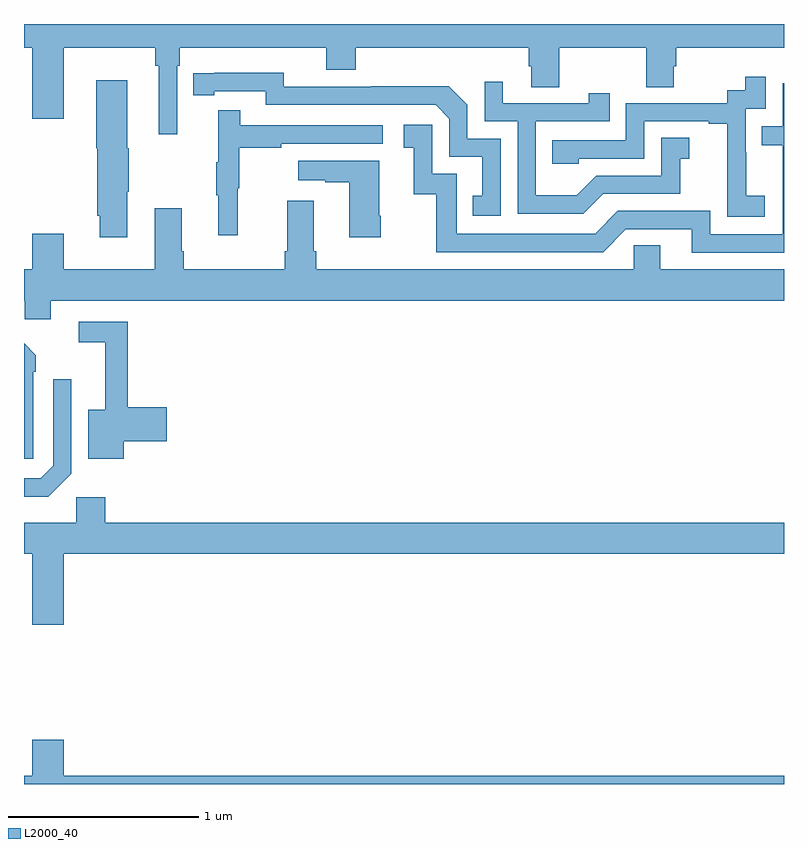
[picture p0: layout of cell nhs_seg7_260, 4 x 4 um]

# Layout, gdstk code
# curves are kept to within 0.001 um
import gdstk
lib = gdstk.Library(unit=1e-6, precision=1e-09)
def P(c, l, *ps):  # polygons
    for p in ps: c.add(gdstk.Polygon(p, *l))
L2000_40 = (2000, 40)

nhs_seg7_260 = lib.new_cell('nhs_seg7_260')
P(nhs_seg7_260, L2000_40, [(129,1073.876),(129.044,1073.876),(129.044,1073.502),(129.208,1073.502),(129.208,1073.876),(129.691,1073.876),(129.691,1073.78),(129.71,1073.78),(129.71,1073.421),(129.807,1073.421),(129.807,1073.78),(129.821,1073.78),(129.821,1073.876),(130.592,1073.876),(130.592,1073.759),(130.745,1073.759),(130.745,1073.876),(131.657,1073.876),(131.657,1073.778),(131.669,1073.778),(131.669,1073.668),(131.817,1073.668),(131.817,1073.876),(132.274,1073.876),(132.274,1073.668),(132.421,1073.668),(132.421,1073.778),(132.434,1073.778),(132.434,1073.876),(133,1073.876),(133,1074),(129,1074)],
  [(131.508,1073.397),(131.334,1073.397),(131.334,1073.574),(131.236,1073.672),(130.828,1073.672),(130.828,1073.67),(130.368,1073.67),(130.368,1073.743),(129.892,1073.742),(129.892,1073.626),(130,1073.626),(130,1073.646),(130.272,1073.646),(130.272,1073.574),(131.166,1073.574),(131.238,1073.502),(131.238,1073.301),(131.411,1073.301),(131.411,1073.097),(131.362,1073.097),(131.362,1072.992),(131.508,1072.992)],
  [(132.898,1073.095),(132.8,1073.095),(132.8,1073.324),(132.798,1073.324),(132.798,1073.553),(132.903,1073.553),(132.903,1073.722),(132.795,1073.722),(132.795,1073.652),(132.702,1073.652),(132.702,1073.583),(132.168,1073.583),(132.168,1073.388),(131.779,1073.388),(131.779,1073.265),(131.919,1073.265),(131.919,1073.292),(132.264,1073.292),(132.264,1073.487),(132.605,1073.487),(132.605,1073.475),(132.701,1073.475),(132.701,1073.191),(132.7,1073.191),(132.7,1072.985),(132.898,1072.985)],
  [(129.544,1073.116),(129.552,1073.116),(129.552,1073.346),(129.544,1073.346),(129.544,1073.704),(129.38,1073.704),(129.38,1073.346),(129.386,1073.346),(129.386,1072.99),(129.398,1072.99),(129.398,1072.878),(129.544,1072.878)],
  [(132.049,1073.106),(132.453,1073.106),(132.453,1073.291),(132.502,1073.291),(132.502,1073.401),(132.354,1073.401),(132.354,1073.202),(132.012,1073.202),(131.908,1073.098),(131.694,1073.098),(131.694,1073.487),(132.083,1073.487),(132.083,1073.635),(131.972,1073.635),(131.972,1073.583),(131.521,1073.583),(131.521,1073.695),(131.424,1073.695),(131.424,1073.487),(131.598,1073.487),(131.598,1073.001),(131.944,1073.001)],
  [(133,1073.688),(132.993,1073.688),(132.993,1073.463),(132.883,1073.463),(132.883,1073.362),(132.993,1073.362),(132.993,1072.893),(132.612,1072.893),(132.612,1073.016),(132.126,1073.016),(132.006,1072.896),(131.277,1072.896),(131.277,1073.211),(131.148,1073.211),(131.148,1073.47),(130.998,1073.47),(130.998,1073.349),(131.051,1073.349),(131.051,1073.103),(131.169,1073.103),(131.169,1072.8),(132.048,1072.8),(132.168,1072.92),(132.515,1072.92),(132.515,1072.797),(133,1072.797)],
  [(130.124,1073.136),(130.132,1073.136),(130.132,1073.35),(130.355,1073.35),(130.355,1073.37),(130.888,1073.37),(130.888,1073.466),(130.139,1073.466),(130.139,1073.545),(130.022,1073.545),(130.022,1073.273),(130.011,1073.273),(130.011,1073.099),(130.022,1073.099),(130.022,1072.887),(130.124,1072.887)],
  [(130.878,1072.99),(130.87,1072.99),(130.87,1073.281),(130.443,1073.281),(130.443,1073.177),(130.586,1073.177),(130.586,1073.167),(130.712,1073.167),(130.712,1072.878),(130.878,1072.878)],
  [(129.142,1072.544),(133,1072.544),(133,1072.708),(132.349,1072.708),(132.349,1072.835),(132.21,1072.835),(132.21,1072.708),(130.538,1072.708),(130.538,1072.804),(130.525,1072.804),(130.525,1073.071),(130.385,1073.071),(130.385,1072.804),(130.373,1072.804),(130.373,1072.708),(129.842,1072.708),(129.842,1072.804),(129.829,1072.804),(129.829,1073.029),(129.689,1073.029),(129.689,1072.708),(129.208,1072.708),(129.208,1072.897),(129.044,1072.897),(129.044,1072.708),(129,1072.708),(129,1072.544),(129.003,1072.544),(129.003,1072.446),(129.142,1072.446)],
  [(129.526,1071.805),(129.751,1071.805),(129.751,1071.983),(129.545,1071.983),(129.545,1072.434),(129.288,1072.434),(129.288,1072.326),(129.428,1072.326),(129.428,1071.97),(129.338,1071.97),(129.338,1071.713),(129.526,1071.713)],
  [(129.048,1072.169),(129.063,1072.169),(129.063,1072.257),(129,1072.32),(129,1071.711),(129.048,1071.711)],
  [(129.249,1071.633),(129.249,1072.129),(129.153,1072.129),(129.153,1071.675),(129.087,1071.609),(129,1071.609),(129,1071.512),(129.128,1071.512)],
  [(129.208,1071.212),(133,1071.212),(133,1071.376),(129.428,1071.376),(129.428,1071.508),(129.276,1071.508),(129.276,1071.376),(129,1071.376),(129,1071.212),(129.044,1071.212),(129.044,1070.838),(129.208,1070.838)],
  [(133,1070.044),(129.208,1070.044),(129.208,1070.233),(129.044,1070.233),(129.044,1070.044),(129,1070.044),(129,1070),(133,1070)])

lib.write_gds('nhs_seg7_260.gds')
